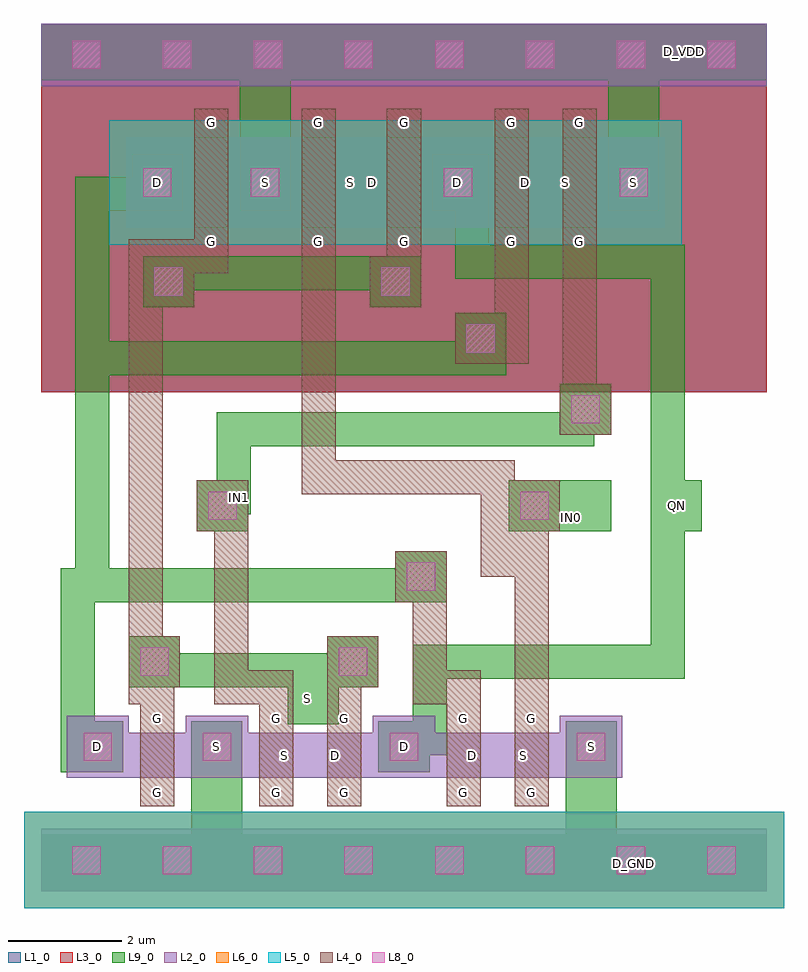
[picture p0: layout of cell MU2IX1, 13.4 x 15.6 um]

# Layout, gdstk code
import gdstk
lib = gdstk.Library(unit=1e-6, precision=1e-09)
def R(c, l, rs):  # rectangles x0, y0, x1, y1
    for r in rs: c.add(gdstk.rectangle(r[:2], r[2:], *l))
def A(c, l, x, y, w, h, nx, ny, dx, dy):  # array of equal rectangles
    R(c, l, [(x+i*dx, y+j*dy, x+i*dx+w, y+j*dy+h) for i in range(nx) for j in range(ny)])
def P(c, l, *ps):  # polygons
    for p in ps: c.add(gdstk.Polygon(p, *l))
L1_0 = (1, 0)
L2_0 = (2, 0)
L3_0 = (3, 0)
L4_0 = (4, 0)
L5_0 = (5, 0)
L6_0 = (6, 0)
L8_0 = (8, 0)
L9_0 = (9, 0)

mu2ix1 = lib.new_cell('MU2IX1')
A(mu2ix1, L1_0, 0, 8.8, 1.6, 6.5, 8, 1, 1.6, 0)
R(mu2ix1, L1_0, [(0,10.2,6,14.8), (1.9,10.2,7.9,14.8), (3.4,10.2,9.4,14.8), (5.3,10.2,11.3,14.8), (6.5,10.2,12.5,14.8)])
A(mu2ix1, L2_0, 0, 0, 1.6, 1.1, 8, 2, 1.6, 14.2)
R(mu2ix1, L2_0, [(0.45,2,1.55,3.1), (1.55,2,2.55,2.8), (2.55,2,3.65,3.1), (2.55,2,3.65,3.1), (3.65,2,4.65,2.8), (3.75,2,4.85,2.8), (4.65,2,5.75,2.8), (4.85,2,5.85,2.8), (5.85,2,6.95,3.1), (5.85,2,6.95,3.1), (6.95,2,7.95,2.8), (7.05,2,8.15,2.8), (7.95,2,9.05,2.8), (8.15,2,9.15,2.8), (9.15,2,10.25,3.1), (1.5,11.7,2.6,13.3), (2.6,11.7,3.4,13.3), (3.4,11.7,4.5,13.3), (3.4,11.7,4.5,13.3), (4.5,11.7,5.3,13.3), (4.9,11.7,6,13.3), (5.3,11.7,6.4,13.3), (6,11.7,6.8,13.3), (6.8,11.7,7.9,13.3), (6.8,11.7,7.9,13.3), (7.9,11.7,8.7,13.3), (8,11.7,9.1,13.3), (8.7,11.7,9.8,13.3), (9.1,11.7,9.9,13.3), (9.9,11.7,11,13.3)])
A(mu2ix1, L3_0, 0, 8.8, 1.6, 6.5, 8, 1, 1.6, 0)
R(mu2ix1, L3_0, [(0,10.2,6,14.8), (1.9,10.2,7.9,14.8), (3.4,10.2,9.4,14.8), (5.3,10.2,11.3,14.8), (6.5,10.2,12.5,14.8)])
R(mu2ix1, L4_0, [(1.75,1.5,2.35,3.3), (1.75,1.5,2.35,2), (3.85,1.5,4.45,3.3), (3.85,1.5,4.45,2), (5.05,1.5,5.65,3.3), (5.05,1.5,5.65,2), (7.15,1.5,7.75,3.3), (7.15,1.5,7.75,2), (8.35,1.5,8.95,3.3), (8.35,1.5,8.95,2), (1.75,2.8,2.35,3.3), (3.85,2.8,4.45,3.3), (5.05,2.8,5.65,3.3), (7.15,2.8,7.75,3.3), (8.35,2.8,8.95,3.3), (8.35,3.25,8.95,6.1), (2.15,3.3,2.35,3.6), (5.05,3.3,5.65,3.6), (1.55,3.6,2.45,4.5), (5.05,3.6,5.95,4.5), (6.25,5.1,7.15,6), (8.35,6.15,8.95,6.35), (2.75,6.35,3.65,7.25), (8.25,6.35,9.15,7.25), (9.15,8.05,10.05,8.95), (9.2,8.3,9.8,12.75), (7.3,9.3,8.2,10.2), (8,9.3,8.6,11.2), (1.8,10.3,2.7,11.2), (5.8,10.3,6.7,11.2), (2.7,11.2,3.3,11.7), (2.7,11.2,3.3,13.8), (4.6,11.2,5.2,11.7), (4.6,11.2,5.2,13.8), (6.1,11.2,6.7,11.7), (6.1,11.2,6.7,13.8), (8,11.2,8.6,11.7), (8,11.2,8.6,13.8), (9.2,11.2,9.8,11.7), (9.2,11.2,9.8,13.8), (2.7,13.3,3.3,13.8), (4.6,13.3,5.2,13.8), (6.1,13.3,6.7,13.8), (8,13.3,8.6,13.8), (9.2,13.3,9.8,13.8)])
P(mu2ix1, L4_0, [(4.6,7),(7.75,7),(7.75,5.55),(8.95,5.55),(8.95,6.15),(8.35,6.15),(8.35,7.6),(5.2,7.6),(5.2,11.2),(4.6,11.2)],
  [(6.55,3.3),(7.75,3.3),(7.75,3.9),(7.15,3.9),(7.15,5.1),(6.55,5.1)],
  [(3.05,3.3),(4.45,3.3),(4.45,3.9),(3.65,3.9),(3.65,7.1),(3.05,7.1)],
  [(1.55,3.3),(2.15,3.3),(2.15,10.9),(3.3,10.9),(3.3,11.5),(1.55,11.5)])
A(mu2ix1, L5_0, 1.6, -0.3, 1.6, 1.7, 6, 1, 1.6, 0)
R(mu2ix1, L5_0, [(-0.3,-0.3,1.6,1.4), (11.2,-0.3,13.1,1.4), (1.2,11.4,4.8,13.6), (3.1,11.4,6.7,13.6), (4.6,11.4,8.2,13.6), (6.5,11.4,10.1,13.6), (7.7,11.4,11.3,13.6)])
A(mu2ix1, L6_0, 1.6, -0.3, 1.6, 1.7, 6, 1, 1.6, 0)
R(mu2ix1, L6_0, [(-0.3,-0.3,1.6,1.4), (11.2,-0.3,13.1,1.4), (1.2,11.4,4.8,13.6), (3.1,11.4,6.7,13.6), (4.6,11.4,8.2,13.6), (6.5,11.4,10.1,13.6), (7.7,11.4,11.3,13.6)])
A(mu2ix1, L8_0, 0.55, 0.3, 0.5, 0.5, 8, 2, 1.6, 14.2)
R(mu2ix1, L8_0, [(0.75,2.3,1.25,2.8), (2.85,2.3,3.35,2.8), (2.85,2.3,3.35,2.8), (6.15,2.3,6.65,2.8), (6.15,2.3,6.65,2.8), (9.45,2.3,9.95,2.8), (1.75,3.8,2.25,4.3), (5.25,3.8,5.75,4.3), (6.45,5.3,6.95,5.8), (2.95,6.55,3.45,7.05), (8.45,6.55,8.95,7.05), (9.35,8.25,9.85,8.75), (7.5,9.5,8,10), (2,10.5,2.5,11), (6,10.5,6.5,11), (1.8,12.25,2.3,12.75), (3.7,12.25,4.2,12.75), (3.7,12.25,4.2,12.75), (7.1,12.25,7.6,12.75), (7.1,12.25,7.6,12.75), (10.2,12.25,10.7,12.75)])
A(mu2ix1, L9_0, 0, 0, 1.6, 1, 8, 2, 1.6, 14.3)
R(mu2ix1, L9_0, [(0,0,12.8,1), (2.65,1,3.55,2.1), (9.25,1,10.15,2.1), (0.35,2.1,0.55,2.4), (0.55,2.1,1.45,3), (2.65,2.1,3.55,3), (2.65,2.1,3.55,3), (5.95,2.1,6.85,3), (5.95,2.1,6.85,3), (9.25,2.1,10.15,3), (4.35,2.95,5.25,3.85), (1.55,3.6,2.45,4.5), (1.95,3.6,5.55,4.2), (5.05,3.6,5.95,4.5), (0.6,5.1,1.2,9.7), (0.6,5.1,6.25,5.7), (6.25,5.1,7.15,6), (2.75,6.35,3.65,7.25), (2.75,6.35,3.65,7.25), (8.25,6.35,9.15,7.25), (9.15,6.35,10.05,7.25), (10.75,6.35,11.65,7.25), (9.15,8.05,10.05,8.95), (0.6,9.1,8.2,9.7), (7.3,9.3,8.2,10.2), (1.8,10.3,2.7,11.2), (5.8,10.3,6.7,11.2), (2.7,10.6,5.8,11.2), (7.3,11.9,7.9,13), (1.6,12,2.5,13), (3.5,12,4.4,13), (3.5,12,4.4,13), (6.9,12,7.8,13), (6.9,12,7.8,13), (10,12,10.9,13), (3.5,13,4.4,14.3), (10,13,10.9,14.3), (0,14.3,12.8,15.3)])
P(mu2ix1, L9_0, [(0.35,2.4),(1.15,2.4),(1.15,3),(0.95,3),(0.95,5.1),(1.2,5.1),(1.2,5.7),(0.35,5.7)],
  [(0.6,9.1),(1.2,9.1),(1.2,12),(2.2,12),(2.2,12.6),(0.6,12.6)],
  [(6.25,2.4),(7.15,2.4),(7.15,3.75),(11.35,3.75),(11.35,6.95),(10.75,6.95),(10.75,4.35),(6.55,4.35),(6.55,3),(6.25,3)],
  [(3.05,6.65),(3.7,6.65),(3.7,7.85),(9.75,7.85),(9.75,8.65),(9.15,8.65),(9.15,8.45),(3.1,8.45),(3.1,7.25),(3.05,7.25)],
  [(7.3,10.8),(10.75,10.8),(10.75,6.65),(11.35,6.65),(11.35,11.4),(7.9,11.4),(7.9,12.5),(7.3,12.5)])
mu2ix1.add(gdstk.Label('G', (7.45,1.752), layer=4, texttype=0))
mu2ix1.add(gdstk.Label('G', (7.45,3.052), layer=4, texttype=0))
mu2ix1.add(gdstk.Label('S', (8.501,2.401), layer=2, texttype=0))
mu2ix1.add(gdstk.Label('D', (6.401,2.551), layer=9, texttype=0))
mu2ix1.add(gdstk.Label('G', (6.4,11.452), layer=4, texttype=0))
mu2ix1.add(gdstk.Label('G', (6.4,13.552), layer=4, texttype=0))
mu2ix1.add(gdstk.Label('S', (5.449,12.501), layer=2, texttype=0))
mu2ix1.add(gdstk.Label('D', (7.349,12.501), layer=9, texttype=0))
mu2ix1.add(gdstk.Label('D', (7.601,2.401), layer=2, texttype=0))
mu2ix1.add(gdstk.Label('G', (8.65,1.752), layer=4, texttype=0))
mu2ix1.add(gdstk.Label('G', (8.65,3.052), layer=4, texttype=0))
mu2ix1.add(gdstk.Label('S', (9.701,2.551), layer=9, texttype=0))
mu2ix1.add(gdstk.Label('D', (5.199,2.401), layer=2, texttype=0))
mu2ix1.add(gdstk.Label('G', (4.15,1.752), layer=4, texttype=0))
mu2ix1.add(gdstk.Label('G', (4.15,3.052), layer=4, texttype=0))
mu2ix1.add(gdstk.Label('S', (3.099,2.551), layer=9, texttype=0))
mu2ix1.add(gdstk.Label('G', (3,11.452), layer=4, texttype=0))
mu2ix1.add(gdstk.Label('G', (3,13.552), layer=4, texttype=0))
mu2ix1.add(gdstk.Label('S', (3.951,12.501), layer=9, texttype=0))
mu2ix1.add(gdstk.Label('D', (2.051,12.501), layer=9, texttype=0))
mu2ix1.add(gdstk.Label('G', (5.35,1.752), layer=4, texttype=0))
mu2ix1.add(gdstk.Label('G', (5.35,3.052), layer=4, texttype=0))
mu2ix1.add(gdstk.Label('S', (4.299,2.401), layer=2, texttype=0))
mu2ix1.add(gdstk.Label('D', (6.399,2.551), layer=9, texttype=0))
mu2ix1.add(gdstk.Label('G', (8.3,11.452), layer=4, texttype=0))
mu2ix1.add(gdstk.Label('G', (8.3,13.552), layer=4, texttype=0))
mu2ix1.add(gdstk.Label('S', (9.251,12.501), layer=2, texttype=0))
mu2ix1.add(gdstk.Label('D', (7.351,12.501), layer=9, texttype=0))
mu2ix1.add(gdstk.Label('G', (2.05,1.752), layer=4, texttype=0))
mu2ix1.add(gdstk.Label('G', (2.05,3.052), layer=4, texttype=0))
mu2ix1.add(gdstk.Label('S', (3.101,2.551), layer=9, texttype=0))
mu2ix1.add(gdstk.Label('D', (1.001,2.551), layer=9, texttype=0))
mu2ix1.add(gdstk.Label('G', (9.5,11.452), layer=4, texttype=0))
mu2ix1.add(gdstk.Label('G', (9.5,13.552), layer=4, texttype=0))
mu2ix1.add(gdstk.Label('S', (10.451,12.501), layer=9, texttype=0))
mu2ix1.add(gdstk.Label('D', (8.551,12.501), layer=2, texttype=0))
mu2ix1.add(gdstk.Label('G', (4.9,11.452), layer=4, texttype=0))
mu2ix1.add(gdstk.Label('G', (4.9,13.552), layer=4, texttype=0))
mu2ix1.add(gdstk.Label('S', (3.949,12.501), layer=9, texttype=0))
mu2ix1.add(gdstk.Label('D', (5.849,12.501), layer=2, texttype=0))
mu2ix1.add(gdstk.Label('D_VDD', (11.35,14.8), layer=50, texttype=0))
mu2ix1.add(gdstk.Label('IN1', (3.5,6.95), layer=50, texttype=0))
mu2ix1.add(gdstk.Label('QN', (11.2,6.8), layer=50, texttype=0))
mu2ix1.add(gdstk.Label('IN0', (9.35,6.6), layer=50, texttype=0))
mu2ix1.add(gdstk.Label('D_GND', (10.45,0.5), layer=50, texttype=0))
mu2ix1.add(gdstk.Label('S', (4.7,3.4), layer=50, texttype=0))

lib.write_gds('MU2IX1.gds')
